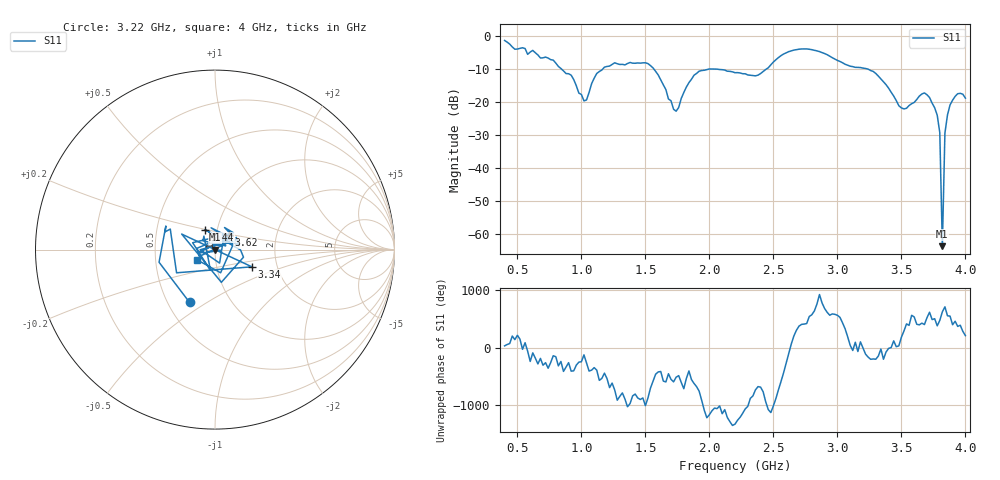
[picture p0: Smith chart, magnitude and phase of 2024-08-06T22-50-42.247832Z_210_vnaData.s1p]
!Created with skrf (http://scikit-rf.org).
# Hz S RI R 50.0
!freq ReS11 ImS11
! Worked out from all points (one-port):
!   181 points, 400 MHz to 4 GHz, reference 50 ohm
!   lowest |S11| = -63.6 dB at 3.82 GHz (marker M1), VSWR 1.00, Z = 50 - j0.0654 ohm
!   |S11| at or under -10 dB: 1.568 GHz to 1.985 GHz (416.8 MHz wide, 23.5 % of centre); 2.074 GHz to 2.441 GHz (366.7 MHz wide, 16.2 % of centre); 3.244 GHz to end of sweep (the widest 3 of 4)
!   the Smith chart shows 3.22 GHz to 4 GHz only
!   S11 on the Smith chart (normalised r, x): 3.22 GHz: 0.64, -0.42; 3.34 GHz: 1.48, -0.30; 3.44 GHz: 0.87, +0.20; 3.62 GHz: 1.15, +0.19; 4 GHz: 0.81, -0.09
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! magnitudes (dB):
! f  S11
! 400 MHz  -1.2
! 860 MHz  -10.5
! 920 MHz  -11.8
! 1.02 GHz  -19.6
! 1.12 GHz  -11.2
! 1.3 GHz  -8.5
! 1.52 GHz  -8.2
! 1.72 GHz  -22.1
! 1.76 GHz  -21.6
! 1.92 GHz  -10.5
! 2.2 GHz  -11.0
! 2.38 GHz  -11.7
! 2.66 GHz  -4.1
! 3.1 GHz  -9.0
! 3.22 GHz  -9.7
! 3.34 GHz  -12.9
! 3.44 GHz  -18.1
! 3.5 GHz  -21.7
! 3.56 GHz  -21.0
! 3.62 GHz  -19.1
! 3.7 GHz  -17.7
! 3.78 GHz  -23.9
! 3.8 GHz  -29.2
! 3.82 GHz  -63.6
! 3.84 GHz  -29.3
! 3.86 GHz  -23.8
! 3.94 GHz  -17.4
! 4 GHz  -18.7
